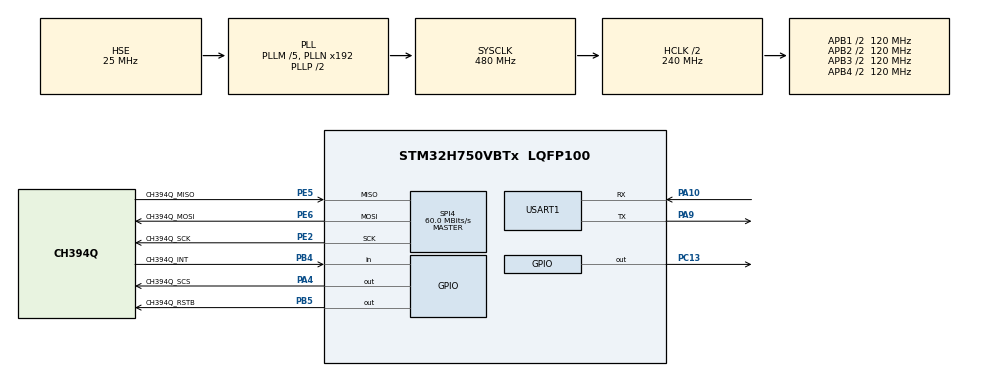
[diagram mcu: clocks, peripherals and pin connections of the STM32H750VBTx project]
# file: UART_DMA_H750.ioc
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CORTEX_M7.default_mode_Activation=1
Dma.Request0=USART1_RX
Dma.Request1=USART1_TX
Dma.USART1_RX.0.Direction=DMA_PERIPH_TO_MEMORY
Dma.USART1_RX.0.EventEnable=DISABLE
Dma.USART1_RX.0.FIFOMode=DMA_FIFOMODE_DISABLE
Dma.USART1_RX.0.Instance=DMA1_Stream0
Dma.USART1_RX.0.MemDataAlignment=DMA_MDATAALIGN_BYTE
Dma.USART1_RX.0.MemInc=DMA_MINC_ENABLE
Dma.USART1_RX.0.Mode=DMA_CIRCULAR
Dma.USART1_RX.0.PeriphDataAlignment=DMA_PDATAALIGN_BYTE
Dma.USART1_RX.0.PeriphInc=DMA_PINC_DISABLE
Dma.USART1_RX.0.Polarity=HAL_DMAMUX_REQ_GEN_RISING
Dma.USART1_RX.0.Priority=DMA_PRIORITY_HIGH
Dma.USART1_RX.0.RequestNumber=1
Dma.USART1_RX.0.SignalID=NONE
Dma.USART1_RX.0.SyncEnable=DISABLE
Dma.USART1_RX.0.SyncPolarity=HAL_DMAMUX_SYNC_NO_EVENT
Dma.USART1_RX.0.SyncRequestNumber=1
Dma.USART1_RX.0.SyncSignalID=NONE
Dma.USART1_TX.1.Direction=DMA_MEMORY_TO_PERIPH
Dma.USART1_TX.1.EventEnable=DISABLE
Dma.USART1_TX.1.FIFOMode=DMA_FIFOMODE_DISABLE
Dma.USART1_TX.1.Instance=DMA1_Stream1
Dma.USART1_TX.1.MemDataAlignment=DMA_MDATAALIGN_BYTE
Dma.USART1_TX.1.MemInc=DMA_MINC_ENABLE
Dma.USART1_TX.1.Mode=DMA_NORMAL
Dma.USART1_TX.1.PeriphDataAlignment=DMA_PDATAALIGN_BYTE
Dma.USART1_TX.1.PeriphInc=DMA_PINC_DISABLE
Dma.USART1_TX.1.Polarity=HAL_DMAMUX_REQ_GEN_RISING
Dma.USART1_TX.1.Priority=DMA_PRIORITY_MEDIUM
Dma.USART1_TX.1.RequestNumber=1
Dma.USART1_TX.1.SignalID=NONE
Dma.USART1_TX.1.SyncEnable=DISABLE
Dma.USART1_TX.1.SyncPolarity=HAL_DMAMUX_SYNC_NO_EVENT
Dma.USART1_TX.1.SyncRequestNumber=1
Dma.USART1_TX.1.SyncSignalID=NONE
FREERTOS.Queues01=uartQuene,16,uint16_t,0,Dynamic,NULL,NULL
FREERTOS.Tasks01=defaultTask,24,128,StartDefaultTask,Default,NULL,Dynamic,NULL,NULL;serialTask,40,1024,StartTask02,Default,NULL,Dynamic,NULL,NULL;picocTask,24,4096,StartTask03,Default,NULL,Dynamic,NULL,NULL
FREERTOS.configENABLE_FPU=1
FREERTOS.configTOTAL_HEAP_SIZE=30720
Mcu.Family=STM32H7
Mcu.Name=STM32H750VBTx
Mcu.Package=LQFP100
NVIC.DMA1_Stream0_IRQn=true\:5\:0\:false\:false\:true\:true\:true\:true\:true
NVIC.DMA1_Stream1_IRQn=true\:5\:0\:false\:false\:true\:true\:true\:true\:true
NVIC.PriorityGroup=NVIC_PRIORITYGROUP_4
NVIC.TIM6_DAC_IRQn=true\:15\:0\:false\:false\:true\:false\:false\:true\:true
NVIC.TimeBase=TIM6_DAC_IRQn
NVIC.TimeBaseIP=TIM6
NVIC.USART1_IRQn=true\:5\:0\:false\:false\:true\:true\:true\:true\:true
PA10.GPIO_Speed=GPIO_SPEED_FREQ_VERY_HIGH
PA10.Mode=Asynchronous
PA10.Signal=USART1_RX
PA13\ (JTMS/SWDIO).Mode=Serial_Wire
PA13\ (JTMS/SWDIO).Signal=DEBUG_JTMS-SWDIO
PA14\ (JTCK/SWCLK).Mode=Serial_Wire
PA14\ (JTCK/SWCLK).Signal=DEBUG_JTCK-SWCLK
PA4.GPIO_Label=CH394Q_SCS
PA4.GPIO_Speed=GPIO_SPEED_FREQ_VERY_HIGH
PA4.PinState=GPIO_PIN_SET
PA4.Signal=GPIO_Output
PA9.GPIO_Speed=GPIO_SPEED_FREQ_VERY_HIGH
PA9.Mode=Asynchronous
PA9.Signal=USART1_TX
PB4\ (NJTRST).GPIO_Label=CH394Q_INT
PB4\ (NJTRST).GPIO_PuPd=GPIO_PULLUP
PB4\ (NJTRST).Signal=GPIO_Input
PB5.GPIO_Label=CH394Q_RSTB
PB5.GPIO_Speed=GPIO_SPEED_FREQ_VERY_HIGH
PB5.PinState=GPIO_PIN_SET
PB5.Signal=GPIO_Output
PC13.Signal=GPIO_Output
PE2.GPIO_Label=CH394Q_SCK
PE2.GPIO_Speed=GPIO_SPEED_FREQ_VERY_HIGH
PE2.Mode=Full_Duplex_Master
PE2.Signal=SPI4_SCK
PE5.GPIO_Label=CH394Q_MISO
PE5.GPIO_Speed=GPIO_SPEED_FREQ_VERY_HIGH
PE5.Mode=Full_Duplex_Master
PE5.Signal=SPI4_MISO
PE6.GPIO_Label=CH394Q_MOSI
PE6.GPIO_Speed=GPIO_SPEED_FREQ_VERY_HIGH
PE6.Mode=Full_Duplex_Master
PE6.Signal=SPI4_MOSI
PH0-OSC_IN\ (PH0).Mode=HSE-External-Oscillator
PH0-OSC_IN\ (PH0).Signal=RCC_OSC_IN
PH1-OSC_OUT\ (PH1).Mode=HSE-External-Oscillator
PH1-OSC_OUT\ (PH1).Signal=RCC_OSC_OUT
ProjectManager.HeapSize=0x20000
ProjectManager.StackSize=0x2000
ProjectManager.TargetToolchain=MDK-ARM V5.32
RCC.ADCFreq_Value=50390625
RCC.APB1Freq_Value=120000000
RCC.APB2Freq_Value=120000000
RCC.APB3Freq_Value=120000000
RCC.APB4Freq_Value=120000000
RCC.CortexFreq_Value=480000000
RCC.D1PPRE=RCC_APB3_DIV2
RCC.D2PPRE1=RCC_APB1_DIV2
RCC.D2PPRE2=RCC_APB2_DIV2
RCC.D3PPRE=RCC_APB4_DIV2
RCC.DIVM1=5
RCC.DIVN1=192
RCC.DIVQ1=4
RCC.HCLKFreq_Value=240000000
RCC.HPRE=RCC_HCLK_DIV2
RCC.PLL2FRACN=0
RCC.PLL3FRACN=0
RCC.PLLFRACN=0
RCC.PLLSourceVirtual=RCC_PLLSOURCE_HSE
RCC.SYSCLKFreq_VALUE=480000000
RCC.SYSCLKSource=RCC_SYSCLKSOURCE_PLLCLK
RCC.USBFreq_Value=240000000
SPI4.CalculateBaudRate=60.0 MBits/s
SPI4.DataSize=SPI_DATASIZE_8BIT
SPI4.Direction=SPI_DIRECTION_2LINES
SPI4.Mode=SPI_MODE_MASTER
SPI4.VirtualType=VM_MASTER
USART1.VirtualMode-Asynchronous=VM_ASYNC
VP_FREERTOS_VS_CMSIS_V2.Mode=CMSIS_V2
VP_MEMORYMAP_VS_MEMORYMAP.Mode=CurAppReg
VP_SYS_VS_tim6.Mode=TIM6
board=custom

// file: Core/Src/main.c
/* USER CODE BEGIN Header */
/**
  ******************************************************************************
  * @file           : main.c
  * @brief          : Main program body
  ******************************************************************************
  * @attention
  *
  * Copyright (c) 2026 STMicroelectronics.
  * All rights reserved.
  *
  * This software is licensed under terms that can be found in the LICENSE file
  * in the root directory of this software component.
  * If no LICENSE file comes with this software, it is provided AS-IS.
  *
  ******************************************************************************
  */
/* USER CODE END Header */
#include "main.h"
#include "FreeRTOS.h"
#include "cmsis_os2.h"
#include "dma.h"
#include "spi.h"
#include "usart.h"
#include "gpio.h"

/* USER CODE BEGIN Includes */
#include "CH394Q_SPI.h"
#include "CH394Q.h"
#include "CH394Q_NET.h"
#include "debug.h"
#include "picoc_app.h"
#include "serial_app.h"

/* USER CODE END Includes */

void SystemClock_Config(void);
static void MPU_Config(void);
void MX_FREERTOS_Init(void);

/* USER CODE BEGIN 0 */
extern uint16_t CH394Q_Port;
/* USER CODE END 0 */

int main(void)
{

  /* MPU Configuration--------------------------------------------------------*/
  MPU_Config();

  /* MCU Configuration--------------------------------------------------------*/

  /* Reset of all peripherals, Initializes the Flash interface and the Systick. */
  HAL_Init();

  /* Configure the system clock */
  SystemClock_Config();

  /* Initialize all configured peripherals */
  MX_DMA_Init();
  MX_GPIO_Init();
  MX_USART1_UART_Init();
  MX_SPI4_Init();
  /* USER CODE BEGIN 2 */
  Delay_Init();
  USART_Printf_Init(115200);
  CH394Q_GPIO_Init();
  CH394Q_SPIPort_Init();
  CH394Q_ResetHW();
  CH394Q_InfParam();
  CH394Q_SetGINTE(0xFF);
  CH394Q_SetSINTE(0xFF);
  {
    uint8_t tx_sizes[SOCKET_NUM] = {2, 2, 2, 2, 2, 2, 2, 2};
    uint8_t rx_sizes[SOCKET_NUM] = {2, 2, 2, 2, 2, 2, 2, 2};
    CH394Q_SocketBuf_Init(tx_sizes, rx_sizes);
  }

  CH394Q_UDPSocketInit(0, Sn_MODE_UDP, CH394Q_Port);

  SerialApp_Init();
  PicocApp_Init();
  printf("=== UDP Bridge Ready ===\r\n");

  /* USER CODE END 2 */

  /* Init scheduler */
  osKernelInitialize();  /* Call init function for freertos objects (in cmsis_os2.c) */
  MX_FREERTOS_Init();

  /* Start scheduler */
  osKernelStart();

  /* We should never get here as control is now taken by the scheduler */

  /* Infinite loop */
  while (1)
  {

}
}
void SystemClock_Config(void)
{
  RCC_OscInitTypeDef RCC_OscInitStruct = {0};
  RCC_ClkInitTypeDef RCC_ClkInitStruct = {0};

  /** Supply configuration update enable
  */
  HAL_PWREx_ConfigSupply(PWR_LDO_SUPPLY);

  /** Configure the main internal regulator output voltage
  */
  __HAL_PWR_VOLTAGESCALING_CONFIG(PWR_REGULATOR_VOLTAGE_SCALE0);

  while(!__HAL_PWR_GET_FLAG(PWR_FLAG_VOSRDY)) {}

  /** Initializes the RCC Oscillators according to the specified parameters
  * in the RCC_OscInitTypeDef structure.
  */
  RCC_OscInitStruct.OscillatorType = RCC_OSCILLATORTYPE_HSE;
  RCC_OscInitStruct.HSEState = RCC_HSE_ON;
  RCC_OscInitStruct.PLL.PLLState = RCC_PLL_ON;
  RCC_OscInitStruct.PLL.PLLSource = RCC_PLLSOURCE_HSE;
  RCC_OscInitStruct.PLL.PLLM = 5;
  RCC_OscInitStruct.PLL.PLLN = 192;
  RCC_OscInitStruct.PLL.PLLP = 2;
  RCC_OscInitStruct.PLL.PLLQ = 4;
  RCC_OscInitStruct.PLL.PLLR = 2;
  RCC_OscInitStruct.PLL.PLLRGE = RCC_PLL1VCIRANGE_2;
  RCC_OscInitStruct.PLL.PLLVCOSEL = RCC_PLL1VCOWIDE;
  RCC_OscInitStruct.PLL.PLLFRACN = 0;
  if (HAL_RCC_OscConfig(&RCC_OscInitStruct) != HAL_OK)
  {
    Error_Handler();
  }

  /** Initializes the CPU, AHB and APB buses clocks
  */
  RCC_ClkInitStruct.ClockType = RCC_CLOCKTYPE_HCLK|RCC_CLOCKTYPE_SYSCLK
                              |RCC_CLOCKTYPE_PCLK1|RCC_CLOCKTYPE_PCLK2
                              |RCC_CLOCKTYPE_D3PCLK1|RCC_CLOCKTYPE_D1PCLK1;
  RCC_ClkInitStruct.SYSCLKSource = RCC_SYSCLKSOURCE_PLLCLK;
  RCC_ClkInitStruct.SYSCLKDivider = RCC_SYSCLK_DIV1;
  RCC_ClkInitStruct.AHBCLKDivider = RCC_HCLK_DIV2;
  RCC_ClkInitStruct.APB3CLKDivider = RCC_APB3_DIV2;
  RCC_ClkInitStruct.APB1CLKDivider = RCC_APB1_DIV2;
  RCC_ClkInitStruct.APB2CLKDivider = RCC_APB2_DIV2;
  RCC_ClkInitStruct.APB4CLKDivider = RCC_APB4_DIV2;

  if (HAL_RCC_ClockConfig(&RCC_ClkInitStruct, FLASH_LATENCY_4) != HAL_OK)
  {
    Error_Handler();
  }
}

/* USER CODE BEGIN 4 */
void HAL_UARTEx_RxEventCallback(UART_HandleTypeDef *huart, uint16_t Size)
{
  SerialApp_RxEventCallback(huart, Size);
}

void HAL_UART_TxCpltCallback(UART_HandleTypeDef *huart)
{
  SerialApp_TxCpltCallback(huart);
}

/* USER CODE END 4 */

 /* MPU Configuration */

void MPU_Config(void)
{
  MPU_Region_InitTypeDef MPU_InitStruct = {0};

  /* Disables the MPU */
  HAL_MPU_Disable();

  /** Initializes and configures the Region and the memory to be protected
  */
  MPU_InitStruct.Enable = MPU_REGION_ENABLE;
  MPU_InitStruct.Number = MPU_REGION_NUMBER0;
  MPU_InitStruct.BaseAddress = 0x0;
  MPU_InitStruct.Size = MPU_REGION_SIZE_4GB;
  MPU_InitStruct.SubRegionDisable = 0x87;
  MPU_InitStruct.TypeExtField = MPU_TEX_LEVEL0;
  MPU_InitStruct.AccessPermission = MPU_REGION_NO_ACCESS;
  MPU_InitStruct.DisableExec = MPU_INSTRUCTION_ACCESS_DISABLE;
  MPU_InitStruct.IsShareable = MPU_ACCESS_SHAREABLE;
  MPU_InitStruct.IsCacheable = MPU_ACCESS_NOT_CACHEABLE;
  MPU_InitStruct.IsBufferable = MPU_ACCESS_NOT_BUFFERABLE;

  HAL_MPU_ConfigRegion(&MPU_InitStruct);
  /* Enables the MPU */
  HAL_MPU_Enable(MPU_PRIVILEGED_DEFAULT);

}

void HAL_TIM_PeriodElapsedCallback(TIM_HandleTypeDef *htim)
{
  if (htim->Instance == TIM6)
  {
    HAL_IncTick();
  }
}

void Error_Handler(void)
{
  __disable_irq();
  while (1)
  {
  }
}

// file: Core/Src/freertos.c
/* USER CODE BEGIN Header */
/**
  ******************************************************************************
  * File Name          : freertos.c
  * Description        : Code for freertos applications
  ******************************************************************************
  * @attention
  *
  * Copyright (c) 2026 STMicroelectronics.
  * All rights reserved.
  *
  * This software is licensed under terms that can be found in the LICENSE file
  * in the root directory of this software component.
  * If no LICENSE file comes with this software, it is provided AS-IS.
  *
  ******************************************************************************
  */
/* USER CODE END Header */

#include "FreeRTOS.h"
#include "task.h"
#include "main.h"
#include "FreeRTOS.h"
#include "cmsis_os2.h"

/* USER CODE BEGIN Includes */
#include "CH394Q_NET.h"
#include "serial_app.h"
#include <string.h>
#include "picoc_app.h"
#include "task_msg.h"

/* USER CODE END Includes */

/* REMOVED: defaultTask no longer needed */
/*osThreadId_t defaultTaskHandle;
const osThreadAttr_t defaultTask_attributes = {
  .name = "defaultTask",
  .stack_size = 128 * 4,
  .priority = (osPriority_t) osPriorityNormal,
};*/
/* Definitions for serialTask */
osThreadId_t serialTaskHandle;
const osThreadAttr_t serialTask_attributes = {
  .name = "serialTask",
  .stack_size = 1024 * 4,
  .priority = (osPriority_t) osPriorityHigh,
};
/* Definitions for picocTask */
osThreadId_t picocTaskHandle;
const osThreadAttr_t picocTask_attributes = {
  .name = "picocTask",
  .stack_size = 8192 * 4,
  .priority = (osPriority_t) osPriorityNormal,
};
/* Definitions for udpTask */
osThreadId_t udpTaskHandle;
const osThreadAttr_t udpTask_attributes = {
  .name = "udpTask",
  .stack_size = 2048 * 4,
  .priority = (osPriority_t) osPriorityAboveNormal,
};
/* Definitions for uartQuene */
osMessageQueueId_t uartQueneHandle;
const osMessageQueueAttr_t uartQuene_attributes = {
  .name = "uartQuene"
};
/* Definitions for udpQuene */
osMessageQueueId_t udpQueneHandle;
const osMessageQueueAttr_t udpQuene_attributes = {
  .name = "udpQuene"
};

/*void StartDefaultTask(void *argument);*/
void StartSerialTask(void *argument);
void StartPicocTask(void *argument);
void StartUdpTask(void *argument);

void MX_FREERTOS_Init(void); /* (MISRA C 2004 rule 8.1) */

void MX_FREERTOS_Init(void) {

  /* USER CODE BEGIN RTOS_MUTEX */
  SerialApp_InitMutex();
  /* USER CODE END RTOS_MUTEX */

  /* Create the queue(s) */
  /* creation of uartQuene */
  uartQueneHandle = osMessageQueueNew (16, sizeof(TaskMsg), &uartQuene_attributes);
  /* creation of udpQuene */
  udpQueneHandle = osMessageQueueNew (16, sizeof(TaskMsg), &udpQuene_attributes);

  /* Create the thread(s) */
  /* REMOVED: defaultTask no longer needed */
  /*defaultTaskHandle = osThreadNew(StartDefaultTask, NULL, &defaultTask_attributes);*/

  /* creation of serialTask */
  serialTaskHandle = osThreadNew(StartSerialTask, NULL, &serialTask_attributes);

  /* creation of udpTask */
  udpTaskHandle = osThreadNew(StartUdpTask, NULL, &udpTask_attributes);

  /* creation of picocTask */
  picocTaskHandle = osThreadNew(StartPicocTask, NULL, &picocTask_attributes);
  vTaskSuspend(picocTaskHandle);

}

/*void StartDefaultTask(void *argument)
{
  for(;;)
  {
    osDelay(1);
  }
}*/

void StartSerialTask(void *argument)
{
  /* USER CODE BEGIN StartSerialTask */
  uint8_t buf[256];
  TaskMsg msg;
  /* 本地行缓冲：UDP 非活跃模式下扫描 ":debug serial" */
  uint8_t scan_buf[64];
  uint32_t scan_len = 0U;
  uint8_t scan_last_cr = 0U;
  (void)argument;
  for(;;)
  {
    ulTaskNotifyTake(pdTRUE, pdMS_TO_TICKS(10));
    /* picocTask 在调试循环中直接消费输入，serialTask 让出 */
    if (g_console_input_active && g_active_channel == IO_CHANNEL_SERIAL)
      continue;
    /* 排空 rx_ring */
    for (;;)
    {
      uint32_t len = SerialApp_Read(buf, sizeof(buf));
      if (len == 0U)
      {
        if (g_active_channel == IO_CHANNEL_SERIAL)
          (void)PicocApp_ProcessChars(buf, 0U, &msg);
        break;
      }

      if (g_active_channel == IO_CHANNEL_SERIAL)
      {
        /* === 串口活跃：正常解析 === */
        if (PicocApp_ProcessChars(buf, len, &msg) != 0)
        {
          switch (msg.type)
          {
            case MSG_UDP_LINE:
              if (udpQueneHandle != NULL)
                (void)osMessageQueuePut(udpQueneHandle, &msg, 0U, 0U);
              break;
            case MSG_RICE_ENABLE:
              g_active_channel = IO_CHANNEL_SERIAL;
              PicocApp_ActivateRice();
              if (picocTaskHandle != NULL)
                vTaskResume(picocTaskHandle);
              break;
            case MSG_SYS_RESET:
              HAL_NVIC_SystemReset();
              break;
            default:
              (void)osMessageQueuePut(uartQueneHandle, &msg, 0U, 0U);
              break;
          }
        }
      }
      else
      {
        /* === 串口非活跃（UDP 模式）：仅扫描 ":debug serial" === */
        for (uint32_t i = 0U; i < len; i++)
        {
          uint8_t ch = buf[i];
          if (ch == '\r' || ch == '\n')
          {
            if (ch == '\n' && scan_last_cr) { scan_last_cr = 0U; continue; }
            scan_last_cr = (ch == '\r') ? 1U : 0U;

            if (scan_len > 0U)
            {
              scan_buf[scan_len] = '\0';
              uint32_t start = 0U;
              while (start < scan_len && (scan_buf[start] == ' ' || scan_buf[start] == '\t'))
                start++;
              if (scan_len - start == 13U &&
                  memcmp(&scan_buf[start], ":debug serial", 13U) == 0)
              {
                PicocApp_SetDebugChannelMode(DEBUG_CHANNEL_SERIAL);
                PicocApp_SendResponse(":ok debug serial\r\n");
              }
            }
            scan_len = 0U;
            continue;
          }
          scan_last_cr = 0U;
          if (scan_len < sizeof(scan_buf) - 1U)
            scan_buf[scan_len++] = ch;
        }
      }
    }
  }
  /* USER CODE END StartSerialTask */
}

void StartPicocTask(void *argument)
{
  /* USER CODE BEGIN StartPicocTask */
  TaskMsg msg;
  (void)argument;
  for(;;)
  {
    if (osMessageQueueGet(uartQueneHandle, &msg, NULL, osWaitForever) == osOK)
    {
      switch (msg.type)
      {
        case MSG_SOURCE_LINE:
          PicocApp_RunSourceLine(msg.data);
          break;
        case MSG_LOAD_BEGIN:
          /* mode already transitioned by serialTask */
          break;
        case MSG_LOAD_END:
          PicocApp_ExecuteLoadSource();
          break;
        case MSG_LOAD_ABORT:
          /* load already cancelled by serialTask */
          break;
        case MSG_RESET:
          PicocApp_Reset();
          break;
        default:
          break;
      }
    }
  }
  /* USER CODE END StartPicocTask */
}

void StartUdpTask(void *argument)
{
  /* USER CODE BEGIN StartUdpTask */
  TaskMsg msg;
  uint8_t rxbuf[256];
  /* 本地行缓冲：桥接模式转发 + 非活跃模式扫描切换命令 + :Rice 检测 */
  uint8_t scan_buf[64];
  uint32_t scan_len = 0U;
  uint8_t scan_last_cr = 0U;
  (void)argument;

  for(;;)
  {
    /* 1. 发送待发的 UDP 输出行 */
    while (udpQueneHandle != NULL && osMessageQueueGet(udpQueneHandle, &msg, NULL, 0U) == osOK)
    {
      if (msg.type == MSG_UDP_LINE && msg.len > 0U)
      {
        msg.data[msg.len] = '\0';
        CH394Q_UDPSendData(0, (const uint8_t *)msg.data, msg.len);
      }
    }

    /* 2. 轮询 CH394Q 接收 UDP 数据 */
    if (HAL_GPIO_ReadPin(CH394Q_INT_GPIO_Port, CH394Q_INT_Pin) == GPIO_PIN_RESET)
    {
      if (CH394Q_GetSn_INT(0) & Sn_INT_RECV)
      {
        CH394Q_SetSn_INT(0, Sn_INT_RECV);
        {
          uint16_t rxlen = CH394Q_GetSn_RX_RS(0);
          uint8_t flag = 0U;
          uint16_t srcport = 0U;
          uint8_t srcip[16];
          uint16_t got = CH394Q_Socket_UDP_Recv(0, rxbuf, rxlen, srcip, &srcport, &flag);
          if (got > 0U)
          {
            rxbuf[got] = '\0';
            DebugChannel_SetSender(srcip, srcport);

            /* === State A: UDP 活跃 + 调试模式 — 喂入调试环形缓冲区 === */
            if (g_active_channel == IO_CHANNEL_UDP && g_console_input_active)
            {
              DebugChannel_UdpInputWrite(rxbuf, got);
              DebugChannel_UdpInputWrite((const uint8_t *)"\r\n", 2U);
            }
            /* === State B: UDP 活跃 + 正常 REPL/LOAD — 逐行调用解析器 === */
            else if (g_active_channel == IO_CHANNEL_UDP)
            {
              /* 确保数据以 \r\n 结尾（旧代码通过 InjectData 追加 \r\n 保证了这一点） */
              if (got + 2U <= sizeof(rxbuf) &&
                  !(got >= 2U && rxbuf[got - 2U] == '\r' && rxbuf[got - 1U] == '\n'))
              {
                rxbuf[got++] = '\r';
                rxbuf[got++] = '\n';
              }
              uint16_t pos = 0U;
              while (pos < got)
              {
                uint16_t seg_end = pos;
                while (seg_end < got && rxbuf[seg_end] != '\r' && rxbuf[seg_end] != '\n')
                  seg_end++;
                if (seg_end < got)
                  seg_end++;  /* 包含分隔符 */
                else if (seg_end == pos)
                  break;

                {
                  TaskMsg out_msg;
                  if (PicocApp_ProcessChars(&rxbuf[pos], seg_end - pos, &out_msg) != 0)
                  {
                    switch (out_msg.type)
                    {
                      case MSG_SOURCE_LINE:
                      case MSG_LOAD_BEGIN:
                      case MSG_LOAD_END:
                      case MSG_LOAD_ABORT:
                      case MSG_RESET:
                        (void)osMessageQueuePut(uartQueneHandle, &out_msg, 0U, 0U);
                        break;
                      case MSG_SYS_RESET:
                        HAL_NVIC_SystemReset();
                        break;
                      default:
                        break;
                    }
                  }
                }
                pos = seg_end;
                if (pos < got && rxbuf[pos] == '\n' && pos > 0U && rxbuf[pos - 1U] == '\r')
                  pos++;
              }
            }
            /* === State C: 桥接模式 — 转发UDP→串口，扫描 :Rice（无需换行符） === */
            else if (PicocApp_GetMode() == PICOC_APP_MODE_BRIDGE)
            {
              uint8_t rice_found = 0U;
              /* 扫描 :Rice（可能在数据任意位置，无需等待换行） */
              for (uint16_t i = 0U; i + 5U <= got; i++)
              {
                if (rxbuf[i] == ':' && memcmp(&rxbuf[i], ":Rice", 5U) == 0)
                {
                  rice_found = 1U;
                  g_active_channel = IO_CHANNEL_UDP;
                  g_debug_channel = DEBUG_CHANNEL_UDP;
                  PicocApp_ActivateRice();
                  if (picocTaskHandle != NULL)
                    vTaskResume(picocTaskHandle);
                  /* 回应 :Rice 发送方（走 UDP） */
                  {
                    const char *resp = ":ok rice\r\n";
                    TaskMsg rmsg;
                    rmsg.type = MSG_UDP_LINE;
                    rmsg.len = (uint16_t)strlen(resp);
                    memcpy(rmsg.data, resp, rmsg.len + 1U);
                    if (udpQueneHandle != NULL)
                      (void)osMessageQueuePut(udpQueneHandle, &rmsg, 0U, 0U);
                  }
                  break;
                }
              }
              /* 未命中 :Rice 才转发到串口（命中后通道已切换为UDP，不应再写串口） */
              if (rice_found == 0U)
              {
                SerialApp_Write(rxbuf, got);
                SerialApp_Write((const uint8_t *)"\r\n", 2U);
              }
              /* 清空行缓冲 */
              scan_len = 0U;
              scan_last_cr = 0U;
            }
            /* === State D: 串口活跃（UDP非活跃）— 行扫描 :debug udp === */
            else
            {
              for (uint16_t i = 0U; i < got; i++)
              {
                uint8_t ch = rxbuf[i];
                if (ch == '\r' || ch == '\n')
                {
                  if (ch == '\n' && scan_last_cr) { scan_last_cr = 0U; continue; }
                  scan_last_cr = (ch == '\r') ? 1U : 0U;

                  if (scan_len > 0U)
                  {
                    scan_buf[scan_len] = '\0';
                    uint32_t start = 0U;
                    while (start < scan_len && (scan_buf[start] == ' ' || scan_buf[start] == '\t'))
                      start++;
                    if (scan_len - start >= 10U &&
                        memcmp(&scan_buf[start], ":debug udp", 10U) == 0)
                    {
                      PicocApp_SetDebugChannelMode(DEBUG_CHANNEL_UDP);
                      PicocApp_SendResponse(":ok debug udp\r\n");
                    }
                  }
                  scan_len = 0U;
                  continue;
                }
                scan_last_cr = 0U;
                if (scan_len < sizeof(scan_buf) - 1U)
                  scan_buf[scan_len++] = ch;
              }
            }
          }
        }
      }
      CH394Q_GlobalInterrupt();
    }

    /* 3. UDP 活跃时周期性触发延迟提示符（每次循环安全，ShowPrompt 会清 g_prompt_pending） */
    if (g_active_channel == IO_CHANNEL_UDP && !g_console_input_active)
    {
      TaskMsg dummy;
      (void)PicocApp_ProcessChars(rxbuf, 0U, &dummy);
    }

    osDelay(1);
  }
  /* USER CODE END StartUdpTask */
}
